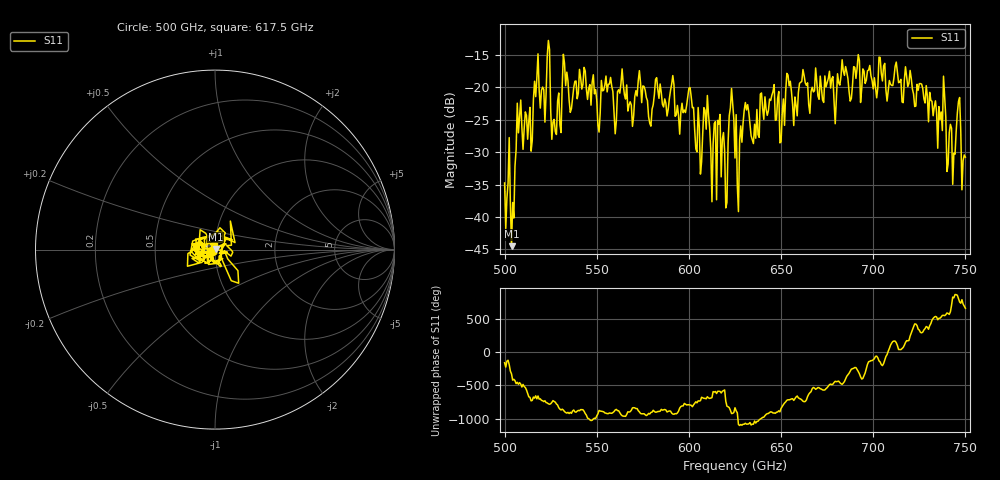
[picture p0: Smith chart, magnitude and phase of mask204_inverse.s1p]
!Created with skrf (http://scikit-rf.org).
# GHz S MA R 50.0
!freq magS11 angS11
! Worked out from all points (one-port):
!   401 points, 500 GHz to 750 GHz, reference 50 ohm
!   lowest |S11| = -44.5 dB at 503.8 GHz (marker M1), VSWR 1.01, Z = 50.5 + j0.327 ohm
!   |S11| at or under -10 dB: start of sweep to end of sweep
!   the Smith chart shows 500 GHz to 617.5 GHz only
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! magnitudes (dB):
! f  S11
! 500 GHz  -34.8
! 503.8 GHz  -44.5
! 508.1 GHz  -24.5
! 513.8 GHz  -23.1
! 516.9 GHz  -21.5
! 523.8 GHz  -12.8
! 526.9 GHz  -25.0
! 531.2 GHz  -19.8
! 562.5 GHz  -20.9
! 579.4 GHz  -26.0
! 590.6 GHz  -19.6
! 593.8 GHz  -22.8
! 600.6 GHz  -20.1
! 605.6 GHz  -26.1
! 609.4 GHz  -26.5
! 620 GHz  -38.6
! 623.1 GHz  -20.2
! 625 GHz  -30.9
! 627.5 GHz  -28.2
! 631.2 GHz  -23.5
! 635 GHz  -28.7
! 656.2 GHz  -22.7
! 687.5 GHz  -22.1
! 718.8 GHz  -19.9
! 738.1 GHz  -18.3
! 743.8 GHz  -30.2
! 746.2 GHz  -22.2
! 750 GHz  -30.8
